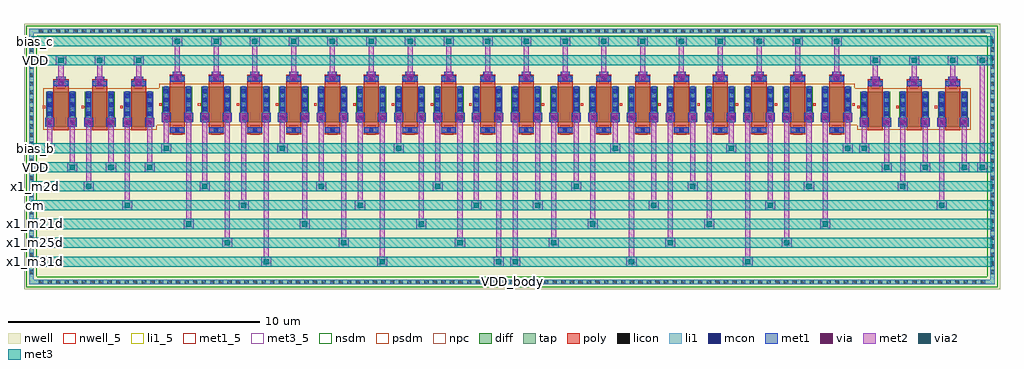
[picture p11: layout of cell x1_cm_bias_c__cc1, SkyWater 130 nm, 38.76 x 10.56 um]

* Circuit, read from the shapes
.subckt x1_cm_bias_c__cc1 VDD VDD_body bias_b bias_c cm x1_m21d x1_m25d x1_m2d x1_m31d
XM1 VDD VDD bias_b VDD_body sky130_fd_pr__pfet_01v8 w=1.4 l=0.6 m=2
XM2 VDD VDD x1_m2d VDD_body sky130_fd_pr__pfet_01v8 w=1.4 l=0.6 m=2
XM3 VDD VDD cm VDD_body sky130_fd_pr__pfet_01v8 w=1.4 l=0.6 m=2
XM4 x1_m21d bias_c bias_b VDD_body sky130_fd_pr__pfet_01v8 w=1.4 l=0.6 m=6
XM5 x1_m25d bias_c x1_m2d VDD_body sky130_fd_pr__pfet_01v8 w=1.4 l=0.6 m=6
XM6 x1_m31d bias_c cm VDD_body sky130_fd_pr__pfet_01v8 w=1.4 l=0.6 m=6
.ends

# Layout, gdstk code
from math import pi, radians
import gdstk
lib = gdstk.Library(unit=1e-6, precision=1e-09)
def R(c, l, rs):  # rectangles x0, y0, x1, y1
    for r in rs: c.add(gdstk.rectangle(r[:2], r[2:], *l))
def A(c, l, x, y, w, h, nx, ny, dx, dy):  # array of equal rectangles
    R(c, l, [(x+i*dx, y+j*dy, x+i*dx+w, y+j*dy+h) for i in range(nx) for j in range(ny)])
nwell_5 = (64, 5)
nwell = (64, 20)
diff = (65, 20)
tap = (65, 44)
poly = (66, 20)
licon = (66, 44)
li1_5 = (67, 5)
li1 = (67, 20)
mcon = (67, 44)
met1_5 = (68, 5)
met1 = (68, 20)
via = (68, 44)
met2 = (69, 20)
via2 = (69, 44)
met3_5 = (70, 5)
met3 = (70, 20)
nsdm = (93, 44)
psdm = (94, 20)
npc = (95, 20)

sky130_fd_pr__pfet_01v8_ = lib.new_cell('sky130_fd_pr__pfet_01v8_7A4LUF')
R(sky130_fd_pr__pfet_01v8_, nwell, [(-0.77,-1.19,0.77,1.02)])
R(sky130_fd_pr__pfet_01v8_, diff, [(-0.59,-0.88,0.59,0.52)])
R(sky130_fd_pr__pfet_01v8_, poly, [(-0.3,-1.01,0.3,1.005)])
A(sky130_fd_pr__pfet_01v8_, licon, -0.53, -0.775, 0.17, 0.17, 1, 4, 0, 0.34)
A(sky130_fd_pr__pfet_01v8_, licon, 0.36, -0.775, 0.17, 0.17, 1, 4, 0, 0.34)
R(sky130_fd_pr__pfet_01v8_, licon, [(-0.085,0.755,0.085,0.925)])
R(sky130_fd_pr__pfet_01v8_, li1, [(-0.53,-0.9,-0.36,0.54), (0.36,-0.9,0.53,0.54), (-0.3,0.755,0.3,0.925)])
A(sky130_fd_pr__pfet_01v8_, mcon, -0.53, -0.805, 0.17, 0.17, 1, 4, 0, 0.36)
A(sky130_fd_pr__pfet_01v8_, mcon, 0.36, -0.805, 0.17, 0.17, 1, 4, 0, 0.36)
R(sky130_fd_pr__pfet_01v8_, mcon, [(-0.085,0.755,0.085,0.925)])
R(sky130_fd_pr__pfet_01v8_, met1, [(-0.56,-0.88,-0.33,0.52), (0.33,-0.88,0.56,0.52), (-0.28,0.725,0.28,0.955)])
R(sky130_fd_pr__pfet_01v8_, psdm, [(-0.715,-1.005,0.715,0.645)])
R(sky130_fd_pr__pfet_01v8_, npc, [(-0.185,0.655,0.185,1.025)])
sky130_fd_pr__pfet_01v8_.add(gdstk.Label('D', (-0.445,-0.18), layer=67, texttype=5))
sky130_fd_pr__pfet_01v8_.add(gdstk.Label('S', (0.445,-0.18), layer=67, texttype=5))
sky130_fd_pr__pfet_01v8_.add(gdstk.Label('G', (0,0.84), layer=67, texttype=5))

pfet_01v8_w1p4_l0p6_m2__ = lib.new_cell('pfet_01v8_W1p4_L0p6_m2__nf1_gtop_sdfull_ng')
R(pfet_01v8_w1p4_l0p6_m2__, nwell_5, [(0.05,1.055,0.15,1.155)])
R(pfet_01v8_w1p4_l0p6_m2__, nwell, [(0.05,1.055,0.15,1.155)])
R(pfet_01v8_w1p4_l0p6_m2__, met1_5, [(0.21,1.01,0.44,1.21), (1.1,1.01,1.33,1.21), (0.49,1.915,1.05,2.145)])
R(pfet_01v8_w1p4_l0p6_m2__, met1, [(0.21,1.01,0.44,1.21), (1.1,1.01,1.33,1.21), (0.49,1.915,1.05,2.145)])
pfet_01v8_w1p4_l0p6_m2__.add(gdstk.Reference(sky130_fd_pr__pfet_01v8_, (0.77,1.19)))
pfet_01v8_w1p4_l0p6_m2__.add(gdstk.Label('D', (0.325,1.11), layer=68, texttype=5))
pfet_01v8_w1p4_l0p6_m2__.add(gdstk.Label('S', (1.215,1.11), layer=68, texttype=5))
pfet_01v8_w1p4_l0p6_m2__.add(gdstk.Label('G', (0.77,2.03), layer=68, texttype=5))
pfet_01v8_w1p4_l0p6_m2__.add(gdstk.Label('B', (0.1,1.105), layer=64, texttype=5))

c_sky130_fd_pr__pfet_01v8_ = lib.new_cell('sky130_fd_pr__pfet_01v8_RGDEC8')
R(c_sky130_fd_pr__pfet_01v8_, nwell, [(-0.77,-1.2,0.77,1.2)])
R(c_sky130_fd_pr__pfet_01v8_, diff, [(-0.59,-0.7,0.59,0.7)])
R(c_sky130_fd_pr__pfet_01v8_, poly, [(-0.3,-1.185,0.3,1.185)])
A(c_sky130_fd_pr__pfet_01v8_, licon, -0.53, -0.595, 0.17, 0.17, 1, 4, 0, 0.34)
A(c_sky130_fd_pr__pfet_01v8_, licon, 0.36, -0.595, 0.17, 0.17, 1, 4, 0, 0.34)
R(c_sky130_fd_pr__pfet_01v8_, licon, [(-0.085,-1.105,0.085,-0.935), (-0.085,0.935,0.085,1.105)])
R(c_sky130_fd_pr__pfet_01v8_, li1, [(-0.3,-1.105,0.3,-0.935), (-0.53,-0.72,-0.36,0.72), (0.36,-0.72,0.53,0.72), (-0.3,0.935,0.3,1.105)])
A(c_sky130_fd_pr__pfet_01v8_, mcon, -0.53, -0.625, 0.17, 0.17, 1, 4, 0, 0.36)
A(c_sky130_fd_pr__pfet_01v8_, mcon, 0.36, -0.625, 0.17, 0.17, 1, 4, 0, 0.36)
R(c_sky130_fd_pr__pfet_01v8_, mcon, [(-0.085,-1.105,0.085,-0.935), (-0.085,0.935,0.085,1.105)])
R(c_sky130_fd_pr__pfet_01v8_, met1, [(-0.28,-1.135,0.28,-0.905), (-0.56,-0.7,-0.33,0.7), (0.33,-0.7,0.56,0.7), (-0.28,0.905,0.28,1.135)])
R(c_sky130_fd_pr__pfet_01v8_, psdm, [(-0.715,-0.825,0.715,0.825)])
R(c_sky130_fd_pr__pfet_01v8_, npc, [(-0.185,-1.205,0.185,-0.835), (-0.185,0.835,0.185,1.205)])
c_sky130_fd_pr__pfet_01v8_.add(gdstk.Label('D', (-0.445,0), layer=67, texttype=5))
c_sky130_fd_pr__pfet_01v8_.add(gdstk.Label('S', (0.445,0), layer=67, texttype=5))
c_sky130_fd_pr__pfet_01v8_.add(gdstk.Label('G', (0,1.02), layer=67, texttype=5))

pfet_01v8_w1p4_l0p6_m6__ = lib.new_cell('pfet_01v8_W1p4_L0p6_m6__nf1_gboth_sdfull_ng')
R(pfet_01v8_w1p4_l0p6_m6__, nwell_5, [(0.05,1.15,0.15,1.25)])
R(pfet_01v8_w1p4_l0p6_m6__, nwell, [(0.05,1.15,0.15,1.25)])
R(pfet_01v8_w1p4_l0p6_m6__, met1_5, [(0.21,1.2,0.44,1.4), (1.1,1.2,1.33,1.4), (0.49,2.105,1.05,2.335)])
R(pfet_01v8_w1p4_l0p6_m6__, met1, [(0.21,1.2,0.44,1.4), (1.1,1.2,1.33,1.4), (0.49,2.105,1.05,2.335)])
pfet_01v8_w1p4_l0p6_m6__.add(gdstk.Reference(c_sky130_fd_pr__pfet_01v8_, (0.77,1.2)))
pfet_01v8_w1p4_l0p6_m6__.add(gdstk.Label('D', (0.325,1.3), layer=68, texttype=5))
pfet_01v8_w1p4_l0p6_m6__.add(gdstk.Label('S', (1.215,1.3), layer=68, texttype=5))
pfet_01v8_w1p4_l0p6_m6__.add(gdstk.Label('G', (0.77,2.22), layer=68, texttype=5))
pfet_01v8_w1p4_l0p6_m6__.add(gdstk.Label('B', (0.1,1.2), layer=64, texttype=5))

x1_cm_bias_c__cc1 = lib.new_cell('x1_cm_bias_c__cc1')
R(x1_cm_bias_c__cc1, nwell, [(-0.7,-6.15,38.06,4.41)])
R(x1_cm_bias_c__cc1, tap, [(-0.485,-5.935,37.845,-5.765), (-0.485,-5.765,-0.315,4.025), (37.675,-5.765,37.845,4.025), (-0.485,4.025,37.845,4.195)])
A(x1_cm_bias_c__cc1, licon, -0.105, -5.935, 0.17, 0.17, 111, 2, 0.34, 9.96)
A(x1_cm_bias_c__cc1, licon, -0.485, -5.545, 0.17, 0.17, 1, 28, 0, 0.34)
A(x1_cm_bias_c__cc1, licon, 37.675, -5.545, 0.17, 0.17, 1, 28, 0, 0.34)
R(x1_cm_bias_c__cc1, li1_5, [(18.63,-5.9,18.73,-5.8)])
R(x1_cm_bias_c__cc1, li1, [(-0.485,-5.935,37.845,-5.765), (-0.485,-5.765,-0.315,4.025), (37.675,-5.765,37.845,4.025), (-0.485,4.025,37.845,4.195)])
A(x1_cm_bias_c__cc1, met1, 0.59, 1.945, 0.36, 0.36, 3, 1, 1.54, 0)
A(x1_cm_bias_c__cc1, met1, 32.93, 1.945, 0.36, 0.36, 3, 1, 1.54, 0)
A(x1_cm_bias_c__cc1, met1, 5.21, 2.14, 0.36, 0.36, 18, 1, 1.54, 0)
R(x1_cm_bias_c__cc1, met1, [(0.145,0.31,0.505,0.67), (1.035,0.31,1.395,0.67), (1.685,0.31,2.045,0.67), (2.575,0.31,2.935,0.67), (3.225,0.31,3.585,0.67), (4.115,0.31,4.475,0.67), (32.485,0.31,32.845,0.67), (33.375,0.31,33.735,0.67), (34.025,0.31,34.385,0.67), (34.915,0.31,35.275,0.67), (35.565,0.31,35.925,0.67), (36.455,0.31,36.815,0.67), (4.765,0.505,5.125,0.865), (5.655,0.505,6.015,0.865), (6.305,0.505,6.665,0.865), (7.195,0.505,7.555,0.865), (7.845,0.505,8.205,0.865), (8.735,0.505,9.095,0.865), (9.385,0.505,9.745,0.865), (10.275,0.505,10.635,0.865), (10.925,0.505,11.285,0.865), (11.815,0.505,12.175,0.865), (12.465,0.505,12.825,0.865), (13.355,0.505,13.715,0.865), (14.005,0.505,14.365,0.865), (14.895,0.505,15.255,0.865), (15.545,0.505,15.905,0.865), (16.435,0.505,16.795,0.865), (17.085,0.505,17.445,0.865), (17.975,0.505,18.335,0.865), (18.625,0.505,18.985,0.865), (19.515,0.505,19.875,0.865), (20.165,0.505,20.525,0.865), (21.055,0.505,21.415,0.865), (21.705,0.505,22.065,0.865), (22.595,0.505,22.955,0.865), (23.245,0.505,23.605,0.865), (24.135,0.505,24.495,0.865), (24.785,0.505,25.145,0.865), (25.675,0.505,26.035,0.865), (26.325,0.505,26.685,0.865), (27.215,0.505,27.575,0.865), (27.865,0.505,28.225,0.865), (28.755,0.505,29.115,0.865), (29.405,0.505,29.765,0.865), (30.295,0.505,30.655,0.865), (30.945,0.505,31.305,0.865), (31.835,0.505,32.195,0.865)])
A(x1_cm_bias_c__cc1, via, 0.695, 2.05, 0.15, 0.15, 3, 1, 1.54, 0)
A(x1_cm_bias_c__cc1, via, 33.035, 2.05, 0.15, 0.15, 3, 1, 1.54, 0)
A(x1_cm_bias_c__cc1, via, 5.315, 2.245, 0.15, 0.15, 18, 1, 1.54, 0)
R(x1_cm_bias_c__cc1, via, [(0.25,0.415,0.4,0.565), (1.14,0.415,1.29,0.565), (1.79,0.415,1.94,0.565), (2.68,0.415,2.83,0.565), (3.33,0.415,3.48,0.565), (4.22,0.415,4.37,0.565), (32.59,0.415,32.74,0.565), (33.48,0.415,33.63,0.565), (34.13,0.415,34.28,0.565), (35.02,0.415,35.17,0.565), (35.67,0.415,35.82,0.565), (36.56,0.415,36.71,0.565), (4.87,0.61,5.02,0.76), (5.76,0.61,5.91,0.76), (6.41,0.61,6.56,0.76), (7.3,0.61,7.45,0.76), (7.95,0.61,8.1,0.76), (8.84,0.61,8.99,0.76), (9.49,0.61,9.64,0.76), (10.38,0.61,10.53,0.76), (11.03,0.61,11.18,0.76), (11.92,0.61,12.07,0.76), (12.57,0.61,12.72,0.76), (13.46,0.61,13.61,0.76), (14.11,0.61,14.26,0.76), (15,0.61,15.15,0.76), (15.65,0.61,15.8,0.76), (16.54,0.61,16.69,0.76), (17.19,0.61,17.34,0.76), (18.08,0.61,18.23,0.76), (18.73,0.61,18.88,0.76), (19.62,0.61,19.77,0.76), (20.27,0.61,20.42,0.76), (21.16,0.61,21.31,0.76), (21.81,0.61,21.96,0.76), (22.7,0.61,22.85,0.76), (23.35,0.61,23.5,0.76), (24.24,0.61,24.39,0.76), (24.89,0.61,25.04,0.76), (25.78,0.61,25.93,0.76), (26.43,0.61,26.58,0.76), (27.32,0.61,27.47,0.76), (27.97,0.61,28.12,0.76), (28.86,0.61,29.01,0.76), (29.51,0.61,29.66,0.76), (30.4,0.61,30.55,0.76), (31.05,0.61,31.2,0.76), (31.94,0.61,32.09,0.76)])
A(x1_cm_bias_c__cc1, met2, 8.715, -5.25, 0.4, 0.4, 3, 1, 4.62, 0)
A(x1_cm_bias_c__cc1, met2, 18.605, -5.25, 0.4, 0.4, 3, 1, 4.62, 0)
A(x1_cm_bias_c__cc1, met2, 8.815, -4.85, 0.2, 5.375, 3, 1, 4.62, 0)
A(x1_cm_bias_c__cc1, met2, 18.705, -4.85, 0.2, 5.375, 3, 1, 4.62, 0)
A(x1_cm_bias_c__cc1, met2, 7.175, -4.5, 0.4, 0.4, 3, 1, 4.62, 0)
A(x1_cm_bias_c__cc1, met2, 20.145, -4.5, 0.4, 0.4, 3, 1, 4.62, 0)
A(x1_cm_bias_c__cc1, met2, 7.275, -4.1, 0.2, 4.625, 3, 1, 4.62, 0)
A(x1_cm_bias_c__cc1, met2, 20.245, -4.1, 0.2, 4.625, 3, 1, 4.62, 0)
A(x1_cm_bias_c__cc1, met2, 5.635, -3.75, 0.4, 0.4, 3, 1, 4.62, 0)
A(x1_cm_bias_c__cc1, met2, 21.685, -3.75, 0.4, 0.4, 3, 1, 4.62, 0)
A(x1_cm_bias_c__cc1, met2, 5.735, -3.35, 0.2, 3.875, 3, 1, 4.62, 0)
A(x1_cm_bias_c__cc1, met2, 21.785, -3.35, 0.2, 3.875, 3, 1, 4.62, 0)
A(x1_cm_bias_c__cc1, met2, 3.205, -3, 0.4, 0.4, 4, 1, 4.62, 0)
A(x1_cm_bias_c__cc1, met2, 19.495, -3, 0.4, 0.4, 3, 1, 4.62, 0)
A(x1_cm_bias_c__cc1, met2, 7.925, -2.6, 0.2, 3.125, 3, 1, 4.62, 0)
A(x1_cm_bias_c__cc1, met2, 19.595, -2.6, 0.2, 3.125, 3, 1, 4.62, 0)
A(x1_cm_bias_c__cc1, met2, 1.665, -2.25, 0.4, 0.4, 4, 1, 4.62, 0)
A(x1_cm_bias_c__cc1, met2, 21.035, -2.25, 0.4, 0.4, 3, 1, 4.62, 0)
A(x1_cm_bias_c__cc1, met2, 6.385, -1.85, 0.2, 2.375, 3, 1, 4.62, 0)
A(x1_cm_bias_c__cc1, met2, 21.135, -1.85, 0.2, 2.375, 3, 1, 4.62, 0)
A(x1_cm_bias_c__cc1, met2, 1.015, -1.5, 0.4, 0.4, 3, 1, 1.54, 0)
A(x1_cm_bias_c__cc1, met2, 33.355, -1.5, 0.4, 0.4, 3, 1, 1.54, 0)
A(x1_cm_bias_c__cc1, met2, 1.115, -1.1, 0.2, 1.43, 3, 1, 1.54, 0)
A(x1_cm_bias_c__cc1, met2, 33.455, -1.1, 0.2, 1.43, 3, 1, 1.54, 0)
A(x1_cm_bias_c__cc1, met2, 0.125, -0.75, 0.4, 0.4, 4, 1, 4.62, 0)
A(x1_cm_bias_c__cc1, met2, 22.575, -0.75, 0.4, 0.4, 3, 1, 4.62, 0)
A(x1_cm_bias_c__cc1, met2, 4.845, -0.35, 0.2, 0.875, 3, 1, 4.62, 0)
A(x1_cm_bias_c__cc1, met2, 22.675, -0.35, 0.2, 0.875, 3, 1, 4.62, 0)
A(x1_cm_bias_c__cc1, met2, 0.64, 1.965, 0.26, 0.32, 3, 1, 1.54, 0)
A(x1_cm_bias_c__cc1, met2, 32.98, 1.965, 0.26, 0.32, 3, 1, 1.54, 0)
A(x1_cm_bias_c__cc1, met2, 5.26, 2.16, 0.26, 0.32, 18, 1, 1.54, 0)
A(x1_cm_bias_c__cc1, met2, 0.67, 2.285, 0.2, 0.475, 3, 1, 1.54, 0)
A(x1_cm_bias_c__cc1, met2, 33.01, 2.285, 0.2, 0.475, 3, 1, 1.54, 0)
A(x1_cm_bias_c__cc1, met2, 5.29, 2.48, 0.2, 1.03, 18, 1, 1.54, 0)
A(x1_cm_bias_c__cc1, met2, 0.57, 2.76, 0.4, 0.4, 3, 1, 1.54, 0)
A(x1_cm_bias_c__cc1, met2, 32.91, 2.76, 0.4, 0.4, 3, 1, 1.54, 0)
A(x1_cm_bias_c__cc1, met2, 5.19, 3.51, 0.4, 0.4, 18, 1, 1.54, 0)
R(x1_cm_bias_c__cc1, met2, [(35.545,-3,35.945,-2.6), (3.305,-2.6,3.505,0.33), (35.645,-2.6,35.845,0.33), (34.005,-2.25,34.405,-1.85), (1.765,-1.85,1.965,0.33), (34.105,-1.85,34.305,0.33), (37.16,-1.5,37.56,-1.1), (37.26,-1.1,37.46,2.76), (32.465,-0.75,32.865,-0.35), (0.225,-0.35,0.425,0.33), (32.565,-0.35,32.765,0.33), (0.195,0.33,0.455,0.65), (1.085,0.33,1.345,0.65), (1.735,0.33,1.995,0.65), (2.625,0.33,2.885,0.65), (3.275,0.33,3.535,0.65), (4.165,0.33,4.425,0.65), (32.535,0.33,32.795,0.65), (33.425,0.33,33.685,0.65), (34.075,0.33,34.335,0.65), (34.965,0.33,35.225,0.65), (35.615,0.33,35.875,0.65), (36.505,0.33,36.765,0.65), (4.815,0.525,5.075,0.845), (5.705,0.525,5.965,0.845), (6.355,0.525,6.615,0.845), (7.245,0.525,7.505,0.845), (7.895,0.525,8.155,0.845), (8.785,0.525,9.045,0.845), (9.435,0.525,9.695,0.845), (10.325,0.525,10.585,0.845), (10.975,0.525,11.235,0.845), (11.865,0.525,12.125,0.845), (12.515,0.525,12.775,0.845), (13.405,0.525,13.665,0.845), (14.055,0.525,14.315,0.845), (14.945,0.525,15.205,0.845), (15.595,0.525,15.855,0.845), (16.485,0.525,16.745,0.845), (17.135,0.525,17.395,0.845), (18.025,0.525,18.285,0.845), (18.675,0.525,18.935,0.845), (19.565,0.525,19.825,0.845), (20.215,0.525,20.475,0.845), (21.105,0.525,21.365,0.845), (21.755,0.525,22.015,0.845), (22.645,0.525,22.905,0.845), (23.295,0.525,23.555,0.845), (24.185,0.525,24.445,0.845), (24.835,0.525,25.095,0.845), (25.725,0.525,25.985,0.845), (26.375,0.525,26.635,0.845), (27.265,0.525,27.525,0.845), (27.915,0.525,28.175,0.845), (28.805,0.525,29.065,0.845), (29.455,0.525,29.715,0.845), (30.345,0.525,30.605,0.845), (30.995,0.525,31.255,0.845), (31.885,0.525,32.145,0.845), (37.16,2.76,37.56,3.16)])
A(x1_cm_bias_c__cc1, via2, 8.815, -5.15, 0.2, 0.2, 3, 1, 4.62, 0)
A(x1_cm_bias_c__cc1, via2, 18.705, -5.15, 0.2, 0.2, 3, 1, 4.62, 0)
A(x1_cm_bias_c__cc1, via2, 7.275, -4.4, 0.2, 0.2, 3, 1, 4.62, 0)
A(x1_cm_bias_c__cc1, via2, 20.245, -4.4, 0.2, 0.2, 3, 1, 4.62, 0)
A(x1_cm_bias_c__cc1, via2, 5.735, -3.65, 0.2, 0.2, 3, 1, 4.62, 0)
A(x1_cm_bias_c__cc1, via2, 21.785, -3.65, 0.2, 0.2, 3, 1, 4.62, 0)
A(x1_cm_bias_c__cc1, via2, 3.305, -2.9, 0.2, 0.2, 4, 1, 4.62, 0)
A(x1_cm_bias_c__cc1, via2, 19.595, -2.9, 0.2, 0.2, 3, 1, 4.62, 0)
A(x1_cm_bias_c__cc1, via2, 1.765, -2.15, 0.2, 0.2, 4, 1, 4.62, 0)
A(x1_cm_bias_c__cc1, via2, 21.135, -2.15, 0.2, 0.2, 3, 1, 4.62, 0)
A(x1_cm_bias_c__cc1, via2, 1.115, -1.4, 0.2, 0.2, 3, 1, 1.54, 0)
A(x1_cm_bias_c__cc1, via2, 33.455, -1.4, 0.2, 0.2, 3, 1, 1.54, 0)
A(x1_cm_bias_c__cc1, via2, 0.225, -0.65, 0.2, 0.2, 4, 1, 4.62, 0)
A(x1_cm_bias_c__cc1, via2, 22.675, -0.65, 0.2, 0.2, 3, 1, 4.62, 0)
A(x1_cm_bias_c__cc1, via2, 0.67, 2.86, 0.2, 0.2, 3, 1, 1.54, 0)
A(x1_cm_bias_c__cc1, via2, 33.01, 2.86, 0.2, 0.2, 3, 1, 1.54, 0)
A(x1_cm_bias_c__cc1, via2, 5.29, 3.61, 0.2, 0.2, 18, 1, 1.54, 0)
R(x1_cm_bias_c__cc1, via2, [(35.645,-2.9,35.845,-2.7), (34.105,-2.15,34.305,-1.95), (37.26,-1.4,37.46,-1.2), (32.565,-0.65,32.765,-0.45), (37.26,2.86,37.46,3.06)])
A(x1_cm_bias_c__cc1, met3_5, -0.3, -5.1, 0.1, 0.1, 1, 7, 0, 0.75)
R(x1_cm_bias_c__cc1, met3_5, [(-0.3,2.91,-0.2,3.01), (-0.3,3.66,-0.2,3.76)])
A(x1_cm_bias_c__cc1, met3, -0.4, -5.25, 38.16, 0.4, 1, 7, 0, 0.75)
R(x1_cm_bias_c__cc1, met3, [(-0.4,2.76,37.76,3.16), (-0.4,3.51,37.76,3.91)])
R(x1_cm_bias_c__cc1, nsdm, [(-0.61,-6.06,37.97,-5.64), (-0.61,-5.64,-0.19,3.9), (37.55,-5.64,37.97,3.9), (-0.61,3.9,37.97,4.32)])
A(x1_cm_bias_c__cc1, psdm, 6.105, 0.375, 0.11, 1.65, 17, 1, 1.54, 0)
R(x1_cm_bias_c__cc1, psdm, [(1.485,0.185,1.595,1.835), (3.025,0.185,3.135,1.835), (33.825,0.185,33.935,1.835), (35.365,0.185,35.475,1.835), (4.565,0.375,4.675,1.835), (32.285,0.375,32.395,1.835)])
x1_cm_bias_c__cc1.add(gdstk.Reference(pfet_01v8_w1p4_l0p6_m2__, (35.42,0)))
x1_cm_bias_c__cc1.add(gdstk.Reference(pfet_01v8_w1p4_l0p6_m2__, (33.88,0)))
x1_cm_bias_c__cc1.add(gdstk.Reference(pfet_01v8_w1p4_l0p6_m2__, (32.34,0)))
x1_cm_bias_c__cc1.add(gdstk.Reference(pfet_01v8_w1p4_l0p6_m2__, (3.08,0)))
x1_cm_bias_c__cc1.add(gdstk.Reference(pfet_01v8_w1p4_l0p6_m2__, (1.54,0)))
x1_cm_bias_c__cc1.add(gdstk.Reference(pfet_01v8_w1p4_l0p6_m2__, (0,0)))
x1_cm_bias_c__cc1.add(gdstk.Reference(pfet_01v8_w1p4_l0p6_m6__, (32.34,0), rotation=pi, x_reflection=True))
x1_cm_bias_c__cc1.add(gdstk.Reference(pfet_01v8_w1p4_l0p6_m6__, (30.8,0), rotation=pi, x_reflection=True))
x1_cm_bias_c__cc1.add(gdstk.Reference(pfet_01v8_w1p4_l0p6_m6__, (29.26,0), rotation=pi, x_reflection=True))
x1_cm_bias_c__cc1.add(gdstk.Reference(pfet_01v8_w1p4_l0p6_m6__, (27.72,0), rotation=pi, x_reflection=True))
x1_cm_bias_c__cc1.add(gdstk.Reference(pfet_01v8_w1p4_l0p6_m6__, (26.18,0), rotation=pi, x_reflection=True))
x1_cm_bias_c__cc1.add(gdstk.Reference(pfet_01v8_w1p4_l0p6_m6__, (24.64,0), rotation=pi, x_reflection=True))
x1_cm_bias_c__cc1.add(gdstk.Reference(pfet_01v8_w1p4_l0p6_m6__, (23.1,0), rotation=pi, x_reflection=True))
x1_cm_bias_c__cc1.add(gdstk.Reference(pfet_01v8_w1p4_l0p6_m6__, (21.56,0), rotation=pi, x_reflection=True))
x1_cm_bias_c__cc1.add(gdstk.Reference(pfet_01v8_w1p4_l0p6_m6__, (20.02,0), rotation=pi, x_reflection=True))
x1_cm_bias_c__cc1.add(gdstk.Reference(pfet_01v8_w1p4_l0p6_m6__, (16.94,0)))
x1_cm_bias_c__cc1.add(gdstk.Reference(pfet_01v8_w1p4_l0p6_m6__, (15.4,0)))
x1_cm_bias_c__cc1.add(gdstk.Reference(pfet_01v8_w1p4_l0p6_m6__, (13.86,0)))
x1_cm_bias_c__cc1.add(gdstk.Reference(pfet_01v8_w1p4_l0p6_m6__, (12.32,0)))
x1_cm_bias_c__cc1.add(gdstk.Reference(pfet_01v8_w1p4_l0p6_m6__, (10.78,0)))
x1_cm_bias_c__cc1.add(gdstk.Reference(pfet_01v8_w1p4_l0p6_m6__, (9.24,0)))
x1_cm_bias_c__cc1.add(gdstk.Reference(pfet_01v8_w1p4_l0p6_m6__, (7.7,0)))
x1_cm_bias_c__cc1.add(gdstk.Reference(pfet_01v8_w1p4_l0p6_m6__, (6.16,0)))
x1_cm_bias_c__cc1.add(gdstk.Reference(pfet_01v8_w1p4_l0p6_m6__, (4.62,0)))
x1_cm_bias_c__cc1.add(gdstk.Label('VDD', (-0.25,2.96), layer=70, texttype=5))
x1_cm_bias_c__cc1.add(gdstk.Label('bias_c', (-0.25,3.71), layer=70, texttype=5))
x1_cm_bias_c__cc1.add(gdstk.Label('bias_b', (-0.25,-0.55), layer=70, texttype=5))
x1_cm_bias_c__cc1.add(gdstk.Label('VDD', (-0.25,-1.3), layer=70, texttype=5))
x1_cm_bias_c__cc1.add(gdstk.Label('x1_m2d', (-0.25,-2.05), layer=70, texttype=5))
x1_cm_bias_c__cc1.add(gdstk.Label('cm', (-0.25,-2.8), layer=70, texttype=5))
x1_cm_bias_c__cc1.add(gdstk.Label('x1_m21d', (-0.25,-3.55), layer=70, texttype=5))
x1_cm_bias_c__cc1.add(gdstk.Label('x1_m25d', (-0.25,-4.3), layer=70, texttype=5))
x1_cm_bias_c__cc1.add(gdstk.Label('x1_m31d', (-0.25,-5.05), layer=70, texttype=5))
x1_cm_bias_c__cc1.add(gdstk.Label('VDD_body', (18.68,-5.85), layer=67, texttype=5))

lib.write_gds('x1_cm_bias_c__cc1.gds')
